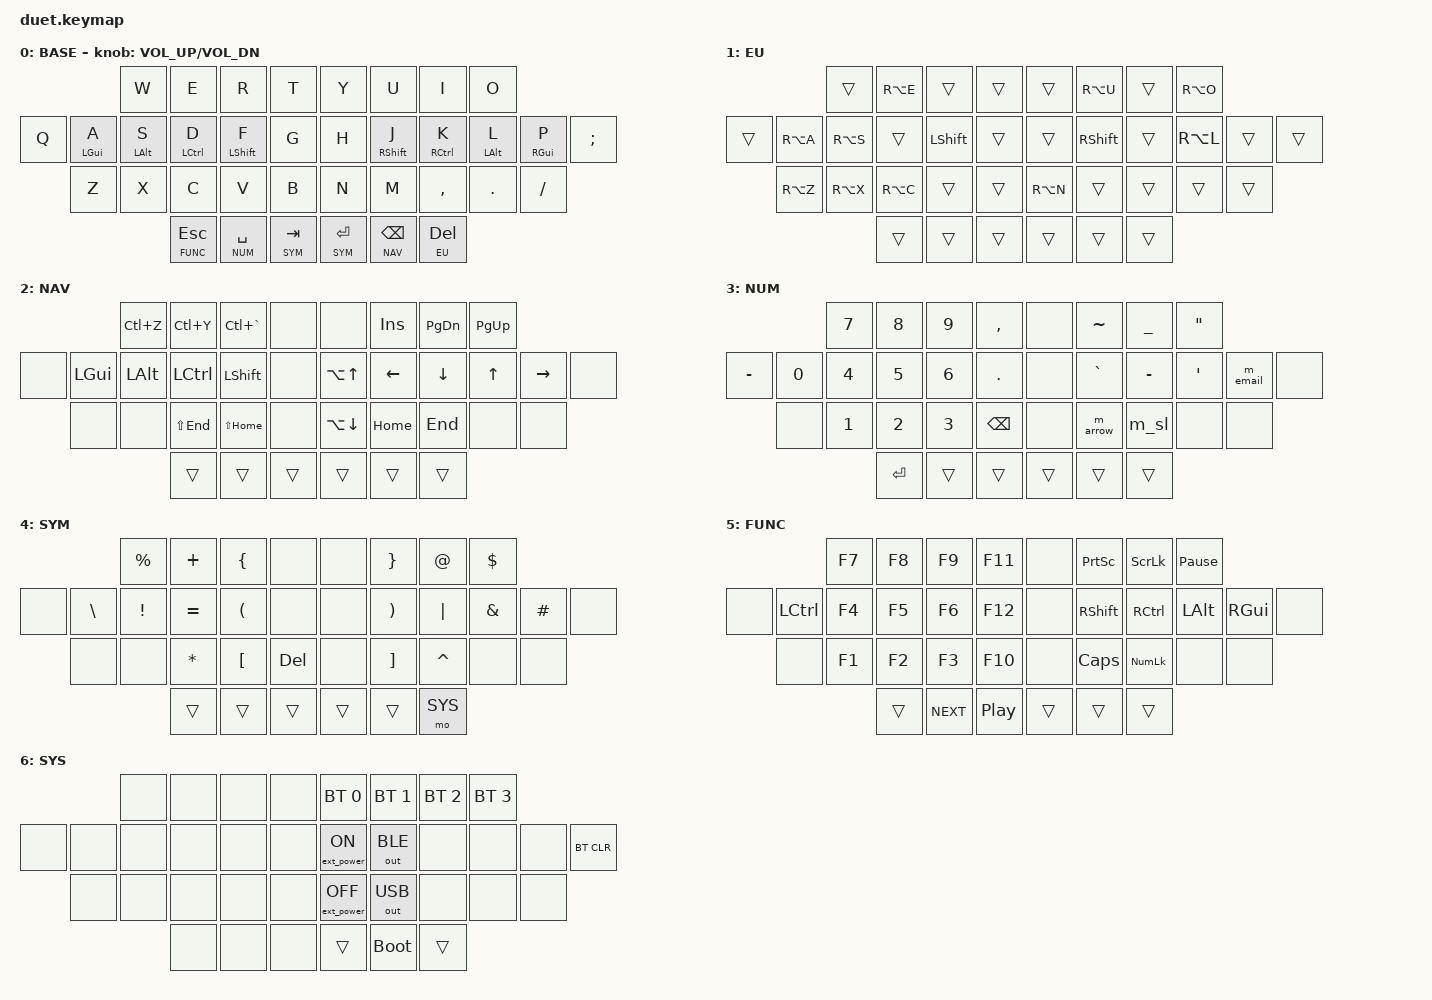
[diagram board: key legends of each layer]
/*
 * Copyright (c) 2020 The ZMK Contributors
 *
 * SPDX-License-Identifier: MIT
 */

#include <behaviors.dtsi>
#include <dt-bindings/zmk/keys.h>
#include <dt-bindings/zmk/bt.h>
#include <dt-bindings/zmk/outputs.h>
#include <dt-bindings/zmk/ext_power.h>

#define QWERTY 0
#define EU 1
#define NAV 2
#define NUM 3
#define SYM 4
#define FUNC 5
#define SYS 6

#define KEYS_L 0 1 2 3 8 9 10 11 12 13 20 21 22 23 24 // left-hand keys
#define KEYS_R 4 5 6 7 14 15 16 17 18 19 25 26 27 28 29 // right-hand keys
#define THUMBS 30 31 32 33 34 35 

&lt {
    tapping-term-ms = <150>;
};

&mt {
    tapping-term-ms = <150>;
};

&encoder {
    status = "okay";
};

/ {
    behaviors {
        hsl: homerow_shift_l {
            compatible = "zmk,behavior-hold-tap";
            #binding-cells = <2>;
            tapping-term-ms = <140>;
            quick-tap-ms = <0>;
            require-prior-idle-ms = <30>;
            flavor = "tap-preferred";
            bindings = <&kp>, <&kp>;
        };
        hsr: homerow_shift_r {
            compatible = "zmk,behavior-hold-tap";
            #binding-cells = <2>;
            tapping-term-ms = <140>;
            quick-tap-ms = <0>;
            require-prior-idle-ms = <30>;
            flavor = "tap-preferred";
            bindings = <&kp>, <&kp>;
        };
        hcl: homerow_ctrl_l {
            compatible = "zmk,behavior-hold-tap";
            #binding-cells = <2>;
            tapping-term-ms = <200>;
            quick-tap-ms = <0>;
            require-prior-idle-ms = <30>;
            flavor = "balanced";
            bindings = <&kp>, <&kp>;
            hold-trigger-key-positions = <KEYS_R THUMBS>;
            hold-trigger-on-release;
        };
        hcr: homerow_ctrl_r {
            compatible = "zmk,behavior-hold-tap";
            #binding-cells = <2>;
            tapping-term-ms = <200>;
            quick-tap-ms = <0>;
            require-prior-idle-ms = <30>;
            flavor = "balanced";
            bindings = <&kp>, <&kp>;
            hold-trigger-key-positions = <KEYS_L THUMBS>;
            hold-trigger-on-release;
        };
        hml: homerow_mods_l {
            compatible = "zmk,behavior-hold-tap";
            #binding-cells = <2>;
            tapping-term-ms = <250>;
            quick-tap-ms = <0>;
            require-prior-idle-ms = <50>;
            flavor = "balanced";
            bindings = <&kp>, <&kp>;
            hold-trigger-key-positions = <KEYS_R THUMBS>;
            hold-trigger-on-release;
        };
        hmr: homerow_mods_r {
            compatible = "zmk,behavior-hold-tap";
            #binding-cells = <2>;
            tapping-term-ms = <250>;
            quick-tap-ms = <0>;
            require-prior-idle-ms = <50>;
            flavor = "balanced";
            bindings = <&kp>, <&kp>;
            hold-trigger-key-positions = <KEYS_L THUMBS>;
            hold-trigger-on-release;
        };
    };

    macros {
        m_email: m_email {
            compatible = "zmk,behavior-macro";
            #binding-cells = <0>;
            bindings = <&kp Z &kp Z  &kp E &kp N &kp E &kp G &kp AT &kp G &kp M &kp A &kp I &kp L &kp DOT &kp C &kp O &kp M>;
        };

        m_arrow: m_arrow {
            compatible = "zmk,behavior-macro";
            #binding-cells = <0>;
            bindings = <&kp EQUAL &kp GT>;
        };

        m_sl: m_select_line {
            compatible = "zmk,behavior-macro";
            #binding-cells = <0>;
            bindings
                = <&macro_tap &kp HOME> 
                , <&macro_press &kp LSHFT>
                , <&macro_tap &kp END>
                , <&macro_release &kp LSHFT>
                ;
        };
    };

    combos {
        compatible = "zmk,combos";
        combo_caps_word {
            timeout-ms = <50>;
            key-positions = <14 17>;
            bindings = <&caps_word>;
            layers = <0>;
        };
    };

    keymap {
        compatible = "zmk,keymap";

        default_layer {
            display-name = "BASE";

            bindings = <
                                        &kp W        &kp E         &kp R         &kp T            &kp Y      &kp U         &kp I         &kp O
                &kp Q      &hml LGUI A  &hml LALT S  &hcl LCTRL D  &hsl LSHFT F  &kp G            &kp H      &hsr RSHFT J  &hcr RCTRL K  &hmr LALT L  &hmr RGUI P  &kp SEMI
                           &kp Z        &kp X        &kp C         &kp V         &kp B            &kp N      &kp M         &kp COMMA     &kp DOT      &kp SLASH
                                                 &lt FUNC ESC  &lt NUM SPACE  &lt SYM TAB       &lt SYM ENTER  &lt NAV BSPC  &lt EU DEL
            >;

            sensor-bindings = <&inc_dec_kp C_VOL_UP C_VOL_DN>;
        };

        eu_layer {
            display-name = "EU";

            bindings = <
                                       &trans      &kp RA(E)    &trans       &trans            &trans       &kp RA(U)    &trans      &kp RA(O)
                &trans    &kp RA(A)    &kp RA(S)   &trans       &kp LSHFT    &trans            &trans       &kp RSHFT    &trans      &kp RA(L)    &trans       &trans
                          &kp RA(Z)    &kp RA(X)   &kp RA(C)    &trans       &trans            &kp RA(N)    &trans       &trans      &trans       &trans
                                                           &trans   &trans     &trans       &trans      &trans     &trans
            >;
        };

        nav_layer {
            display-name = "NAV";

            bindings = <
                                   &kp LC(Z)  &kp LC(Y)    &kp LC(GRAVE)  &none          &none         &kp INS    &kp PG_DN    &kp PG_UP
                &none    &kp LGUI  &kp LALT   &kp LCTRL    &kp LSHFT      &none          &kp LA(UP)    &kp LEFT   &kp DOWN     &kp UP       &kp RIGHT    &none
                         &none     &none      &kp LS(END)  &kp LS(HOME)   &none          &kp LA(DOWN)  &kp HOME   &kp END      &none        &none
                                                      &trans     &trans     &trans        &trans      &trans     &trans
            >;
        };

        num_layer {
            display-name = "NUM";

            bindings = <
                                       &kp N7      &kp N8      &kp N9      &kp COMMA          &none     &kp TILDE    &kp UNDER    &kp DQT
                &kp MINUS   &kp N0     &kp N4      &kp N5      &kp N6      &kp DOT            &none     &kp GRAVE    &kp MINUS    &kp SQT    &m_email     &none
                            &none      &kp N1      &kp N2      &kp N3      &kp BSPC           &none     &m_arrow     &m_sl        &none      &none
                                                      &kp ENTER     &trans     &trans       &trans      &trans     &trans
            >;
        };

        sym_layer {
            display-name = "SYM";

            bindings = <
                                     &kp PRCNT   &kp PLUS    &kp LBRC    &none           &none    &kp RBRC    &kp AT      &kp DLLR
                &none    &kp BSLH    &kp EXCL    &kp EQUAL   &kp LPAR    &none           &none    &kp RPAR    &kp PIPE    &kp AMPS     &kp HASH    &none
                         &none       &none       &kp STAR    &kp LBKT    &kp DEL         &none    &kp RBKT    &kp CARET   &none        &none
                                                     &trans     &trans     &trans       &trans      &trans     &mo SYS
            >;
        };

        func_layer {
            display-name = "FUNC";

            bindings = <
                                     &kp F7      &kp F8      &kp F9      &kp F11             &none        &kp PSCRN    &kp SLCK     &kp PAUSE_BREAK
                &none    &kp LCTRL   &kp F4      &kp F5      &kp F6      &kp F12             &none        &kp RSHFT    &kp RCTRL    &kp LALT         &kp RGUI    &none
                         &none       &kp F1      &kp F2      &kp F3      &kp F10             &none        &kp CAPS     &kp KP_NUM   &none            &none
                                                    &trans     &kp C_NEXT     &kp C_PP       &trans      &trans     &trans
            >;
        };

        sys_layer {
            display-name = "SYS";

            bindings = <
                                    &none     &none     &none     &none           &bt BT_SEL 0       &bt BT_SEL 1  &bt BT_SEL 2  &bt BT_SEL 3
                &none     &none     &none     &none     &none     &none           &ext_power EP_ON   &out OUT_BLE  &none         &none         &none          &bt BT_CLR
                          &none     &none     &none     &none     &none           &ext_power EP_OFF  &out OUT_USB  &none         &none         &none
                                                &none     &none     &none       &trans      &bootloader     &trans
            >;
        };

    };
};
